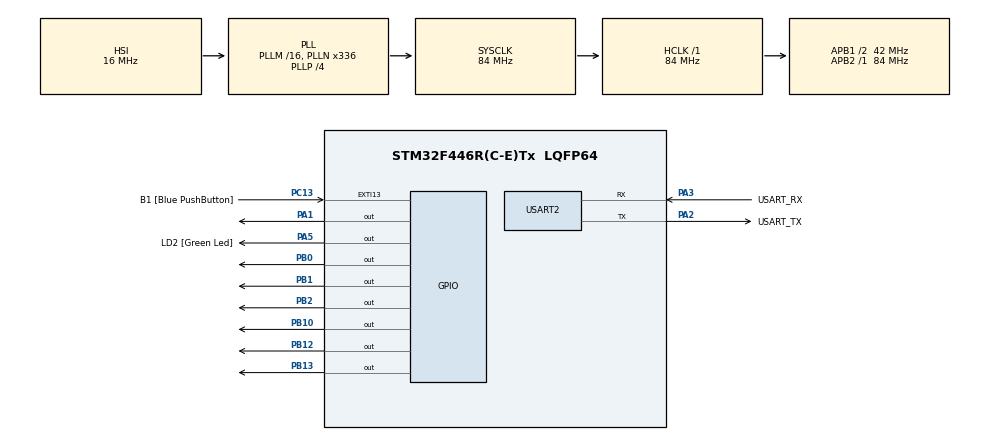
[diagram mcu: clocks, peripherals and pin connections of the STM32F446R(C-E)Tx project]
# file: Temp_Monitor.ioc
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FREERTOS.Tasks01=TempTask,24,512,StartDefaultTask,Default,NULL,Dynamic,NULL,NULL
Mcu.Family=STM32F4
Mcu.Name=STM32F446R(C-E)Tx
Mcu.Package=LQFP64
NVIC.PriorityGroup=NVIC_PRIORITYGROUP_4
PA1.Signal=GPIO_Output
PA13.GPIO_Label=TMS
PA13.Mode=Serial_Wire
PA13.Signal=SYS_JTMS-SWDIO
PA14.GPIO_Label=TCK
PA14.Mode=Serial_Wire
PA14.Signal=SYS_JTCK-SWCLK
PA2.GPIO_Label=USART_TX
PA2.Mode=Asynchronous
PA2.Signal=USART2_TX
PA3.GPIO_Label=USART_RX
PA3.Mode=Asynchronous
PA3.Signal=USART2_RX
PA5.GPIO_Label=LD2 [Green Led]
PA5.Signal=GPIO_Output
PB0.Signal=GPIO_Output
PB1.Signal=GPIO_Output
PB10.Signal=GPIO_Output
PB12.Signal=GPIO_Output
PB13.Signal=GPIO_Output
PB2.Signal=GPIO_Output
PB3.GPIO_Label=SWO
PB3.Signal=SYS_JTDO-SWO
PC13.GPIO_Label=B1 [Blue PushButton]
PC13.GPIO_ModeDefaultEXTI=GPIO_MODE_IT_FALLING
PC13.Signal=GPXTI13
PC14-OSC32_IN.Mode=LSE-External-Oscillator
PC14-OSC32_IN.Signal=RCC_OSC32_IN
PC15-OSC32_OUT.Mode=LSE-External-Oscillator
PC15-OSC32_OUT.Signal=RCC_OSC32_OUT
PH0-OSC_IN.Mode=HSE-External-Oscillator
PH0-OSC_IN.Signal=RCC_OSC_IN
PH1-OSC_OUT.Mode=HSE-External-Oscillator
PH1-OSC_OUT.Signal=RCC_OSC_OUT
ProjectManager.HeapSize=0x200
ProjectManager.StackSize=0x400
ProjectManager.TargetToolchain=STM32CubeIDE
RCC.48MHZClocksFreq_Value=84000000
RCC.AHBFreq_Value=84000000
RCC.APB1CLKDivider=RCC_HCLK_DIV2
RCC.APB1Freq_Value=42000000
RCC.APB1TimFreq_Value=84000000
RCC.APB2Freq_Value=84000000
RCC.APB2TimFreq_Value=84000000
RCC.CortexFreq_Value=84000000
RCC.FLatency-AdvancedSettings=FLASH_LATENCY_2
RCC.HCLKFreq_Value=84000000
RCC.HSE_VALUE=8000000
RCC.HSI_VALUE=16000000
RCC.PLLN=336
RCC.PLLP=RCC_PLLP_DIV4
RCC.SYSCLKFreq_VALUE=84000000
RCC.SYSCLKSource=RCC_SYSCLKSOURCE_PLLCLK
RCC.USBFreq_Value=168000000
RCC.VCOOutputFreq_Value=336000000
TIM6.Prescaler=83
USART2.VirtualMode=VM_ASYNC
VP_FREERTOS_VS_CMSIS_V2.Mode=CMSIS_V2
VP_TIM6_VS_ClockSourceINT.Mode=Enable_Timer
board=NUCLEO-F446RE

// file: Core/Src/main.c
/* USER CODE BEGIN Header */
/**
  ******************************************************************************
  * @file           : main.c
  * @brief          : Main program body
  ******************************************************************************
  * @attention
  *
  * Copyright (c) 2026 STMicroelectronics.
  * All rights reserved.
  *
  * This software is licensed under terms that can be found in the LICENSE file
  * in the root directory of this software component.
  * If no LICENSE file comes with this software, it is provided AS-IS.
  *
  ******************************************************************************
  */
/* USER CODE END Header */
#include "main.h"
#include "cmsis_os.h"

/* USER CODE BEGIN Includes */
#include <stdio.h>
/* USER CODE END Includes */

TIM_HandleTypeDef htim6;

UART_HandleTypeDef huart2;

/* Definitions for TempTask */
osThreadId_t TempTaskHandle;
const osThreadAttr_t TempTask_attributes = {
  .name = "TempTask",
  .stack_size = 512 * 4,
  .priority = (osPriority_t) osPriorityNormal,
};
/* USER CODE BEGIN PV */
osThreadId_t TempTaskHandle;
/* USER CODE END PV */

void SystemClock_Config(void);
static void MX_GPIO_Init(void);
static void MX_USART2_UART_Init(void);
static void MX_TIM6_Init(void);
void StartDefaultTask(void *argument);

/* USER CODE BEGIN 0 */
extern TIM_HandleTypeDef htim6;

/* LCD mapping */

#define RS_PORT GPIOB
#define RS_PIN GPIO_PIN_0

#define EN_PORT GPIOB
#define EN_PIN GPIO_PIN_1

#define D4_PORT GPIOB
#define D4_PIN GPIO_PIN_2

#define D5_PORT GPIOB
#define D5_PIN GPIO_PIN_10

#define D6_PORT GPIOB
#define D6_PIN GPIO_PIN_12

#define D7_PORT GPIOB
#define D7_PIN GPIO_PIN_13

#define DS_PORT GPIOA
#define DS_PIN GPIO_PIN_1

void delay_us(uint16_t us)
{
 __HAL_TIM_SET_COUNTER(&htim6,0);
 while(__HAL_TIM_GET_COUNTER(&htim6)<us);
}
/* USER CODE END 0 */

int main(void)
{

  /* MCU Configuration--------------------------------------------------------*/

  /* Reset of all peripherals, Initializes the Flash interface and the Systick. */
  HAL_Init();

  /* Configure the system clock */
  SystemClock_Config();

  /* Initialize all configured peripherals */
  MX_GPIO_Init();
  MX_USART2_UART_Init();
  MX_TIM6_Init();
  HAL_TIM_Base_Start(&htim6);

  /* Init scheduler */
  osKernelInitialize();

  /* Create the thread(s) */
  /* creation of TempTask */
  TempTaskHandle = osThreadNew(StartDefaultTask, NULL, &TempTask_attributes);

  /* Start scheduler */
  osKernelStart();

  /* We should never get here as control is now taken by the scheduler */

  /* Infinite loop */
  while (1)
  {

  }
}

void SystemClock_Config(void)
{
  RCC_OscInitTypeDef RCC_OscInitStruct = {0};
  RCC_ClkInitTypeDef RCC_ClkInitStruct = {0};

  /** Configure the main internal regulator output voltage
  */
  __HAL_RCC_PWR_CLK_ENABLE();
  __HAL_PWR_VOLTAGESCALING_CONFIG(PWR_REGULATOR_VOLTAGE_SCALE3);

  /** Initializes the RCC Oscillators according to the specified parameters
  * in the RCC_OscInitTypeDef structure.
  */
  RCC_OscInitStruct.OscillatorType = RCC_OSCILLATORTYPE_HSI;
  RCC_OscInitStruct.HSIState = RCC_HSI_ON;
  RCC_OscInitStruct.HSICalibrationValue = RCC_HSICALIBRATION_DEFAULT;
  RCC_OscInitStruct.PLL.PLLState = RCC_PLL_ON;
  RCC_OscInitStruct.PLL.PLLSource = RCC_PLLSOURCE_HSI;
  RCC_OscInitStruct.PLL.PLLM = 16;
  RCC_OscInitStruct.PLL.PLLN = 336;
  RCC_OscInitStruct.PLL.PLLP = RCC_PLLP_DIV4;
  RCC_OscInitStruct.PLL.PLLQ = 2;
  RCC_OscInitStruct.PLL.PLLR = 2;
  if (HAL_RCC_OscConfig(&RCC_OscInitStruct) != HAL_OK)
  {
    Error_Handler();
  }

  /** Initializes the CPU, AHB and APB buses clocks
  */
  RCC_ClkInitStruct.ClockType = RCC_CLOCKTYPE_HCLK|RCC_CLOCKTYPE_SYSCLK
                              |RCC_CLOCKTYPE_PCLK1|RCC_CLOCKTYPE_PCLK2;
  RCC_ClkInitStruct.SYSCLKSource = RCC_SYSCLKSOURCE_PLLCLK;
  RCC_ClkInitStruct.AHBCLKDivider = RCC_SYSCLK_DIV1;
  RCC_ClkInitStruct.APB1CLKDivider = RCC_HCLK_DIV2;
  RCC_ClkInitStruct.APB2CLKDivider = RCC_HCLK_DIV1;

  if (HAL_RCC_ClockConfig(&RCC_ClkInitStruct, FLASH_LATENCY_2) != HAL_OK)
  {
    Error_Handler();
  }
}

static void MX_TIM6_Init(void)
{

  TIM_MasterConfigTypeDef sMasterConfig = {0};

  htim6.Instance = TIM6;
  htim6.Init.Prescaler = 83;
  htim6.Init.CounterMode = TIM_COUNTERMODE_UP;
  htim6.Init.Period = 65535;
  htim6.Init.AutoReloadPreload = TIM_AUTORELOAD_PRELOAD_DISABLE;
  if (HAL_TIM_Base_Init(&htim6) != HAL_OK)
  {
    Error_Handler();
  }
  sMasterConfig.MasterOutputTrigger = TIM_TRGO_RESET;
  sMasterConfig.MasterSlaveMode = TIM_MASTERSLAVEMODE_DISABLE;
  if (HAL_TIMEx_MasterConfigSynchronization(&htim6, &sMasterConfig) != HAL_OK)
  {
    Error_Handler();
  }

}

static void MX_USART2_UART_Init(void)
{

  huart2.Instance = USART2;
  huart2.Init.BaudRate = 115200;
  huart2.Init.WordLength = UART_WORDLENGTH_8B;
  huart2.Init.StopBits = UART_STOPBITS_1;
  huart2.Init.Parity = UART_PARITY_NONE;
  huart2.Init.Mode = UART_MODE_TX_RX;
  huart2.Init.HwFlowCtl = UART_HWCONTROL_NONE;
  huart2.Init.OverSampling = UART_OVERSAMPLING_16;
  if (HAL_UART_Init(&huart2) != HAL_OK)
  {
    Error_Handler();
  }

}

static void MX_GPIO_Init(void)
{
  GPIO_InitTypeDef GPIO_InitStruct = {0};

  /* GPIO Ports Clock Enable */
  __HAL_RCC_GPIOC_CLK_ENABLE();
  __HAL_RCC_GPIOH_CLK_ENABLE();
  __HAL_RCC_GPIOA_CLK_ENABLE();
  __HAL_RCC_GPIOB_CLK_ENABLE();

  /*Configure GPIO pin Output Level */
  HAL_GPIO_WritePin(GPIOA, GPIO_PIN_1|LD2_Pin, GPIO_PIN_RESET);

  /*Configure GPIO pin Output Level */
  HAL_GPIO_WritePin(GPIOB, GPIO_PIN_0|GPIO_PIN_1|GPIO_PIN_2|GPIO_PIN_10
                          |GPIO_PIN_12|GPIO_PIN_13, GPIO_PIN_RESET);

  /*Configure GPIO pin : B1_Pin */
  GPIO_InitStruct.Pin = B1_Pin;
  GPIO_InitStruct.Mode = GPIO_MODE_IT_FALLING;
  GPIO_InitStruct.Pull = GPIO_NOPULL;
  HAL_GPIO_Init(B1_GPIO_Port, &GPIO_InitStruct);

  /*Configure GPIO pin : PA1 */
  GPIO_InitStruct.Pin = GPIO_PIN_1;
  GPIO_InitStruct.Mode = GPIO_MODE_INPUT;
  GPIO_InitStruct.Pull = GPIO_NOPULL;
  HAL_GPIO_Init(GPIOA, &GPIO_InitStruct);

  /* LED pin */
  GPIO_InitStruct.Pin = LD2_Pin;
  GPIO_InitStruct.Mode = GPIO_MODE_OUTPUT_PP;
  HAL_GPIO_Init(LD2_GPIO_Port, &GPIO_InitStruct);

  /*Configure GPIO pins : PB0 PB1 PB2 PB10
                           PB12 PB13 */
  GPIO_InitStruct.Pin = GPIO_PIN_0|GPIO_PIN_1|GPIO_PIN_2|GPIO_PIN_10
                          |GPIO_PIN_12|GPIO_PIN_13;
  GPIO_InitStruct.Mode = GPIO_MODE_OUTPUT_PP;
  GPIO_InitStruct.Pull = GPIO_NOPULL;
  GPIO_InitStruct.Speed = GPIO_SPEED_FREQ_LOW;
  HAL_GPIO_Init(GPIOB, &GPIO_InitStruct);

}

/* USER CODE BEGIN 4 */
/* LCD functions */

void LCD_Enable()
{
 HAL_GPIO_WritePin(EN_PORT,EN_PIN,1);
 delay_us(50);
 HAL_GPIO_WritePin(EN_PORT,EN_PIN,0);
}

void LCD_Send4(uint8_t data)
{
 HAL_GPIO_WritePin(D4_PORT,D4_PIN,(data>>0)&1);
 HAL_GPIO_WritePin(D5_PORT,D5_PIN,(data>>1)&1);
 HAL_GPIO_WritePin(D6_PORT,D6_PIN,(data>>2)&1);
 HAL_GPIO_WritePin(D7_PORT,D7_PIN,(data>>3)&1);
 LCD_Enable();
}

void LCD_Command(uint8_t cmd)
{
 HAL_GPIO_WritePin(RS_PORT,RS_PIN,0);
 LCD_Send4(cmd>>4);
 LCD_Send4(cmd&0x0F);
 HAL_Delay(2);
}

void LCD_Data(uint8_t data)
{
 HAL_GPIO_WritePin(RS_PORT,RS_PIN,1);
 LCD_Send4(data>>4);
 LCD_Send4(data&0x0F);
 HAL_Delay(2);
}

void LCD_Init()
{
 HAL_Delay(50);
 LCD_Send4(0x03);
 HAL_Delay(5);
 LCD_Send4(0x03);
 HAL_Delay(1);
 LCD_Send4(0x03);
 LCD_Send4(0x02);
 LCD_Command(0x28);
 LCD_Command(0x0C);
 LCD_Command(0x06);
 LCD_Command(0x01);
}

void LCD_SetCursor(int row,int col)
{
 uint8_t addr=(row==0)?0x80:0xC0;
 addr+=col;
 LCD_Command(addr);
}

void LCD_String(char *str)
{
 while(*str)
 LCD_Data(*str++);
}
/* ================= DS18B20 FUNCTIONS ================= */

void DS_Output(void)
{
 GPIO_InitTypeDef GPIO_InitStruct = {0};

 GPIO_InitStruct.Pin = DS_PIN;
 GPIO_InitStruct.Mode = GPIO_MODE_OUTPUT_OD;
 GPIO_InitStruct.Pull = GPIO_NOPULL;
 GPIO_InitStruct.Speed = GPIO_SPEED_FREQ_LOW;

 HAL_GPIO_Init(DS_PORT, &GPIO_InitStruct);
}

void DS_Input(void)
{
 GPIO_InitTypeDef GPIO_InitStruct = {0};

 GPIO_InitStruct.Pin = DS_PIN;
 GPIO_InitStruct.Mode = GPIO_MODE_INPUT;
 GPIO_InitStruct.Pull = GPIO_NOPULL;

 HAL_GPIO_Init(DS_PORT, &GPIO_InitStruct);
}

uint8_t DS_Reset(void)
{
 uint8_t response;

 DS_Output();

 HAL_GPIO_WritePin(DS_PORT, DS_PIN, 0);

 delay_us(480);

 DS_Input();

 delay_us(80);

 response = HAL_GPIO_ReadPin(DS_PORT, DS_PIN);

 delay_us(400);

 return response;
}

void DS_WriteBit(uint8_t bit)
{
 DS_Output();

 HAL_GPIO_WritePin(DS_PORT, DS_PIN, 0);

 if(bit)
  delay_us(1);
 else
  delay_us(60);

 DS_Input();

 if(bit)
  delay_us(60);
 else
  delay_us(1);
}

uint8_t DS_ReadBit(void)
{
 uint8_t bit=0;

 DS_Output();
 HAL_GPIO_WritePin(DS_PORT, DS_PIN, 0);

 delay_us(2);

 DS_Input();

 delay_us(10);

 bit = HAL_GPIO_ReadPin(DS_PORT, DS_PIN);

 delay_us(50);

 return bit;
}

void DS_WriteByte(uint8_t data)
{
 for(int i=0;i<8;i++)
 {
  DS_WriteBit(data & 0x01);
  data >>=1;
 }
}

uint8_t DS_ReadByte(void)
{
 uint8_t data=0;

 for(int i=0;i<8;i++)
 {
  data >>=1;

  if(DS_ReadBit())
   data |= 0x80;
 }

 return data;
}

float DS_ReadTemp(void)
{
 uint8_t TL,TH;
 int16_t TEMP;

 DS_Reset();

 DS_WriteByte(0xCC);
 DS_WriteByte(0x44);

 osDelay(750);

 DS_Reset();

 DS_WriteByte(0xCC);
 DS_WriteByte(0xBE);

 TL = DS_ReadByte();
 TH = DS_ReadByte();

 TEMP = (TH<<8)|TL;

 return (float)TEMP/16.0;
}
/* USER CODE END 4 */

void StartDefaultTask(void *argument)
{
 LCD_Init();

 char buffer[16];
 float temperature;

 for(;;)
 {
  temperature = DS_ReadTemp();

  LCD_SetCursor(0,0);
  LCD_String("Temperature");

  sprintf(buffer,"%.2f C   ",temperature);

  LCD_SetCursor(1,0);
  LCD_String(buffer);

  osDelay(1000);
 }
}

void Error_Handler(void)
{
  __disable_irq();
  while (1)
  {
  }
}
